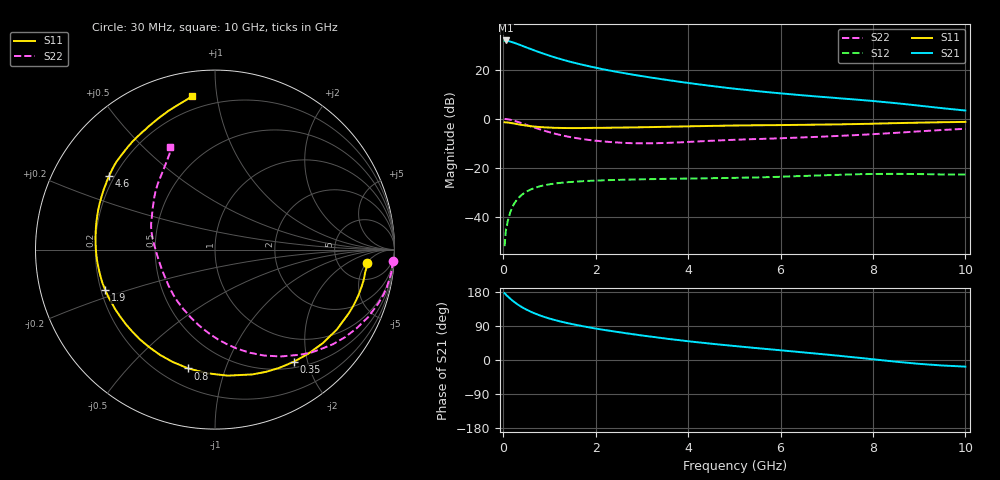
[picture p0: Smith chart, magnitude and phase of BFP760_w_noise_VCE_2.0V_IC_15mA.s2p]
! Infineon Technologies  Discrete & RF Semiconductors
! BFP760
! VCE =  2.0 V,  IC =  15 mA
! Common Emitter S-Parameters:  Nov 2012
# GHz  S  MA  R  50
!  f  S11  S21  S12  S22
! GHz  MAG  ANG  MAG  ANG  MAG  ANG  MAG  ANG
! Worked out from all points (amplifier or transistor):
!   99 points, 30 MHz to 10 GHz, reference 50 ohm
!   highest |S21| = 32.0 dB at 50 MHz (marker M1)
!   |S21| within 3 dB of that: start of sweep to 524 MHz
!   unconditionally stable (mu >= 1): 5.035 GHz to end of sweep
!   at 350 MHz: K = 0.17, MSG = 31.1 dB, |S12| = -32.0 dB
!   at 3.5 GHz: K = 0.80, MSG = 20.3 dB, |S12| = -24.5 dB
!   at 10 GHz: K = 1.14, MAG = 10.8 dB, |S12| = -22.8 dB
!   lowest NFmin = 0.56 dB at 900 MHz
!   S11 on the Smith chart (normalised r, x): 30 MHz: 9, -5; 350 MHz: 0.59, -1.78; 800 MHz: 0.31, -0.75; 1.9 GHz: 0.22, -0.17; 4.6 GHz: 0.18, +0.31; 10 GHz: 0.13, +0.86
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0.03  0.8502 -5.2  39.49 176.4  0.0025 90.1  0.9929 -3.6
0.05  0.8462 -8.5  39.89 173.4  0.0044 97.3  0.9905 -6.0
0.12  0.8344 -20.5  38.58 165.3  0.0098 78.2  0.9728 -14.7
0.2  0.8117 -33.3  36.67 156.9  0.0161 72.9  0.9325 -23.8
0.3  0.779 -48.0  34.03 147.6  0.0224 65.2  0.8739 -33.9
0.35  0.7641 -54.8  32.59 143.6  0.0252 62.2  0.8435 -38.6
0.4  0.7499 -61.5  31.36 139.8  0.0279 59.6  0.8109 -43.0
0.5  0.7258 -73.4  28.8 133.1  0.0324 54.3  0.7527 -51.1
0.6  0.7057 -84.3  26.53 127.2  0.0362 49.5  0.6991 -58.4
0.8  0.6785 -102.7  22.61 117.4  0.042 42.6  0.6066 -71.3
1  0.6618 -117.6  19.5 109.4  0.0459 36.9  0.5326 -82.6
1.2  0.6523 -129.8  17.04 102.8  0.0487 32.8  0.476 -92.6
1.4  0.6478 -140.0  15.06 97.1  0.0507 29.5  0.4331 -101.6
1.7  0.648 -152.7  12.81 89.7  0.053 26.1  0.3861 -113.9
1.9  0.6516 -159.8  11.62 85.3  0.0542 24.1  0.3652 -121.7
2.5  0.6615 -177.1  8.959 73.5  0.0566 20.0  0.3271 -142.4
3.4  0.6834 163.4  6.513 58.4  0.0591 16.6  0.3192 -169.3
4.6  0.7189 145.1  4.57 41.8  0.0613 14.3  0.3591 167.4
5.1  0.7313 140.1  4.031 35.8  0.0624 14.1  0.376 161.2
6.7  0.7582 126.9  2.904 17.8  0.069 12.8  0.4247 144.3
8.5  0.8161 108.4  2.086 -4.5  0.0751 5.3  0.517 124.9
10  0.8654 98.4  1.477 -17.5  0.0727 2.4  0.625 113.4
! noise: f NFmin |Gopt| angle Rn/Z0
0.9  0.56  0.13  32  0.08
1.8  0.6  0.06  78  0.08
2.4  0.66  0.07  133  0.08
3.5  0.78  0.08  168  0.08
5.5  1.01  0.26  -130  0.08
8  1.36  0.39  -91  0.26
